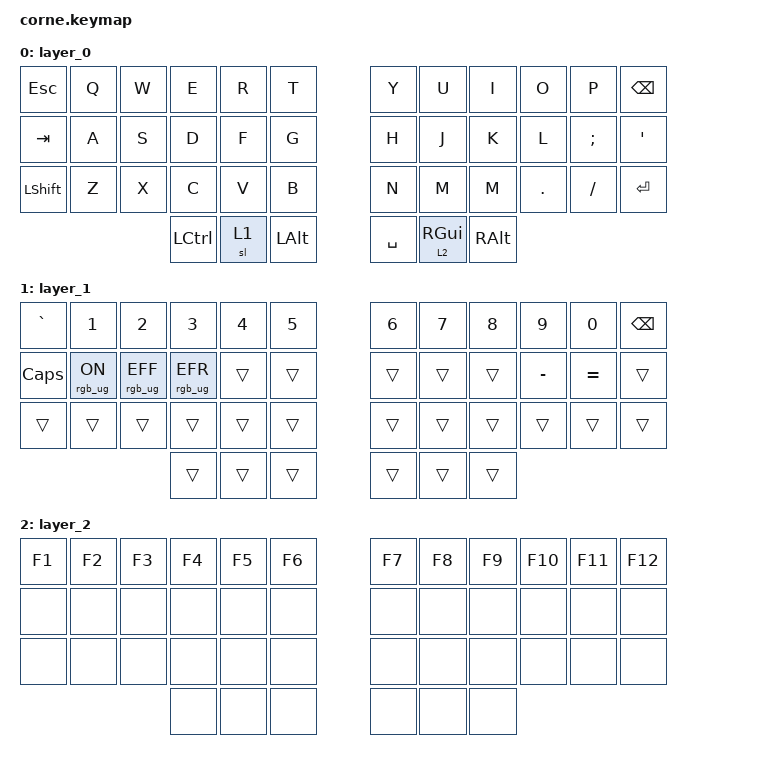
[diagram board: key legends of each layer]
/*
 * Copyright (c) 2020 The ZMK Contributors
 *
 * SPDX-License-Identifier: MIT
 */

#include <behaviors.dtsi>
#include <dt-bindings/zmk/keys.h>
#include <dt-bindings/zmk/rgb.h>

/ {
    keymap {
        compatible = "zmk,keymap";

        layer_0 {
            bindings = <
&kp ESC    &kp Q  &kp W  &kp E      &kp R  &kp T       &kp Y      &kp U            &kp I     &kp O    &kp P     &kp BSPC
&kp TAB    &kp A  &kp S  &kp D      &kp F  &kp G       &kp H      &kp J            &kp K     &kp L    &kp SEMI  &kp APOS
&kp LSHFT  &kp Z  &kp X  &kp C      &kp V  &kp B       &kp N      &kp M            &kp M     &kp DOT  &kp FSLH  &kp ENTER
                         &kp LCTRL  &sl 1  &kp LALT    &kp SPACE  &lt 2 RIGHT_GUI  &kp RALT
            >;
        };

        layer_1 {
            bindings = <
&kp GRAVE  &kp N1          &kp N2           &kp N3           &kp N4  &kp N5    &kp N6  &kp N7  &kp N8  &kp N9     &kp N0     &kp BSPC
&kp CLCK   &rgb_ug RGB_ON  &rgb_ug RGB_EFF  &rgb_ug RGB_EFR  &trans  &trans    &trans  &trans  &trans  &kp MINUS  &kp EQUAL  &trans
&trans     &trans          &trans           &trans           &trans  &trans    &trans  &trans  &trans  &trans     &trans     &trans
                                            &trans           &trans  &trans    &trans  &trans  &trans
            >;
        };

        layer_2 {
            bindings = <
&kp F1  &kp F2  &kp F3  &kp F4  &kp F5  &kp F6    &kp F7  &kp F8  &kp F9  &kp F10  &kp F11  &kp F12
&none   &none   &none   &none   &none   &none     &none   &none   &none   &none    &none    &none
&none   &none   &none   &none   &none   &none     &none   &none   &none   &none    &none    &none
                        &none   &none   &none     &none   &none   &none
            >;
        };
    };
};

